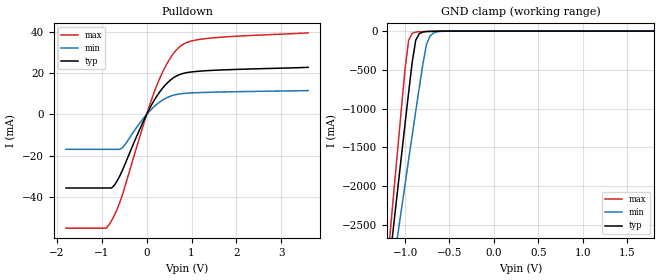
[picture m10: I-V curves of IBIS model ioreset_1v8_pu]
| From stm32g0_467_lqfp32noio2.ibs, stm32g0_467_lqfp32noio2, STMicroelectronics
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|   Model ioreset_1v8_pu
[Model]  ioreset_1v8_pu
Model_type I/O_open_drain
Polarity   Inverting
Enable   Active-High
Vinl =   0.540000V
Vinh =   1.260000V
Vmeas =  0.900000V
Cref =   100.000000nF
Rref =   1.000000k
Vref =   1.800000V
C_comp   0.473010pF   0.460860pF   0.564710pF
[Temperature Range]   25.000000   0.125000k   -40.000000
[Pullup Reference]   1.800000V   1.600000V   2.000000V
[Pulldown Reference]   0.0V   0.0V   0.0V
[POWER Clamp Reference]   1.800000V   1.600000V   2.000000V
[GND Clamp Reference]   0.0V   0.0V   0.0V
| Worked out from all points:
|   slope of the pulldown table from 0 to 0.27 V, typ, clamps not added: 26.4 ohm
|   GND clamp passes 1 mA (typ) near -0.60 V on its own axis
[Pulldown]
|Voltage   I(typ)   I(min)   I(max)
-1.8V     -35.64mA   -16.93mA   -55.1mA
-900mV    -35.64mA   -16.93mA   -55.1mA
-840mV    -35.64mA   -16.93mA   -53.52mA
-720mV    -34.31mA   -16.93mA   -48.86mA
-540mV    -27.04mA   -16.13mA   -38.89mA
-60mV     -2.742mA   -1.574mA   -4.207mA
240mV     9.303mA    5.14mA     14.78mA
480mV     15.67mA    8.374mA    25.64mA
720mV     19.18mA    9.883mA    32.46mA
960mV     20.46mA    10.37mA    35.32mA
1.32V     21.15mA    10.67mA    36.72mA
3.6V      22.78mA    11.53mA    39.48mA
[GND_clamp]
|Voltage   I(typ)   I(min)   I(max)
-1.8V     -9.477A    -8.509A    -9.704A
-1.2V     -3.243A    -3.574A    -3.012A
-1.16V    -2.83A     -3.252A    -2.501A
-1.12V    -2.418A    -2.932A    -1.991A
-1.08V    -2.008A    -2.612A    -1.484A
-1V       -1.194A    -1.975A    -486.6mA
-960mV    -792.8mA   -1.659A    -118.4mA
-920mV    -402mA     -1.345A    -29.21mA
-880mV    -117.9mA   -1.034A    -12.85mA
-760mV    -5.956mA   -176.1mA   -5.379mA
-680mV    -2.455mA   -23.94mA   -2.76mA
1.8V      0A         0A         0A
[POWER_clamp]
|Voltage   I(typ)   I(min)   I(max)
-1.8V     0A         0A         0A
0V        0A         0A         0A
[Ramp]
| variable   typ   min   max
dV/dt_r  1.07940/0.30684u   0.95900/0.30028u   1.19957/0.30024u
dV/dt_f  1.07940/13.44459n   0.95900/23.74701n   1.19957/9.53815n
R_load = 40.000000k
